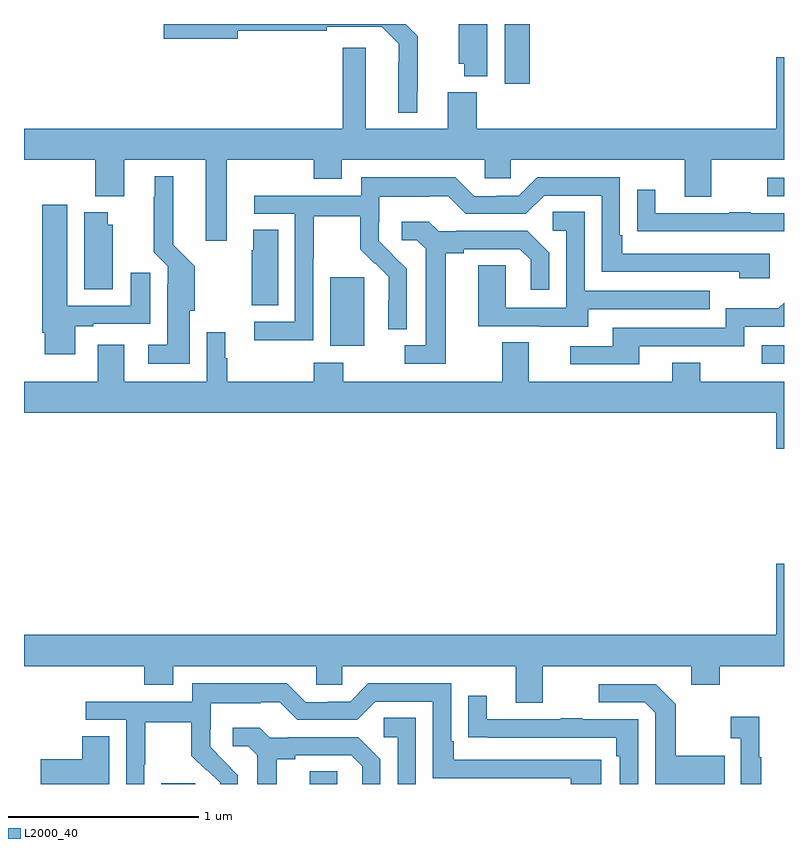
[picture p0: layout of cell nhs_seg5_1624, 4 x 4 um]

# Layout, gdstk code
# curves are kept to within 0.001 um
import gdstk
lib = gdstk.Library(unit=1e-6, precision=1e-09)
def R(c, l, rs):  # rectangles x0, y0, x1, y1
    for r in rs: c.add(gdstk.rectangle(r[:2], r[2:], *l))
def P(c, l, *ps):  # polygons
    for p in ps: c.add(gdstk.Polygon(p, *l))
L2000_40 = (2000, 40)

nhs_seg5_1624 = lib.new_cell('nhs_seg5_1624')
R(nhs_seg5_1624, L2000_40, [(209.723,862.799,209.902,862.803), (210.503,862.799,210.648,862.865), (212.883,865.011,213,865.107), (210.611,865.106,210.79,865.467), (212.913,865.893,213,865.989), (211.529,866.484,211.661,866.799)])
P(nhs_seg5_1624, L2000_40, [(211.438,866.799),(211.289,866.799),(211.289,866.589),(211.316,866.589),(211.316,866.525),(211.438,866.525)],
  [(211.069,866.443),(211.073,866.443),(211.073,866.734),(211.008,866.799),(209.736,866.799),(209.736,866.722),(210.124,866.722),(210.124,866.764),(210.593,866.764),(210.593,866.784),(210.884,866.784),(210.972,866.696),(210.971,866.333),(211.069,866.333)],
  [(210.067,866.084),(210.526,866.084),(210.526,865.985),(210.673,865.985),(210.673,866.084),(211.425,866.084),(211.425,865.986),(211.563,865.986),(211.563,866.084),(212.477,866.084),(212.477,865.89),(212.617,865.89),(212.617,866.084),(213,866.084),(213,866.623),(212.96,866.623),(212.96,866.248),(211.382,866.248),(211.382,866.44),(211.229,866.44),(211.229,866.248),(210.799,866.248),(210.799,866.674),(210.677,866.674),(210.677,866.248),(209,866.248),(209,866.084),(209.375,866.084),(209.375,865.892),(209.527,865.892),(209.527,866.084),(209.957,866.084),(209.957,865.659),(210.067,865.659)],
  [(209.872,865.29),(209.898,865.29),(209.898,865.523),(209.785,865.636),(209.785,865.999),(209.687,865.999),(209.687,865.889),(209.683,865.889),(209.683,865.598),(209.757,865.524),(209.757,865.43),(209.753,865.43),(209.753,865.111),(209.655,865.111),(209.655,865.01),(209.872,865.01)],
  [(210.522,865.564),(210.525,865.564),(210.525,865.788),(210.769,865.788),(210.769,865.613),(210.846,865.536),(210.849,865.539),(210.92,865.469),(210.92,865.346),(210.918,865.346),(210.918,865.192),(211.014,865.192),(211.014,865.51),(210.868,865.658),(210.868,865.755),(210.87,865.755),(210.87,865.889),(211.133,865.889),(211.133,865.893),(211.233,865.893),(211.326,865.8),(211.641,865.8),(211.737,865.896),(212.04,865.896),(212.04,865.494),(212.765,865.494),(212.765,865.46),(212.926,865.46),(212.926,865.59),(212.149,865.59),(212.149,865.687),(212.136,865.687),(212.136,865.992),(211.701,865.992),(211.605,865.896),(211.487,865.896),(211.487,865.893),(211.371,865.893),(211.271,865.993),(210.774,865.993),(210.774,865.896),(210.213,865.896),(210.213,865.8),(210.426,865.8),(210.426,865.233),(210.213,865.233),(210.213,865.135),(210.522,865.135)],
  [(213,865.803),(212.825,865.803),(212.825,865.808),(212.713,865.808),(212.713,865.803),(212.323,865.803),(212.323,865.927),(212.227,865.927),(212.227,865.708),(212.329,865.708),(212.329,865.707),(213,865.707)],
  [(209.269,865.209),(209.365,865.209),(209.365,865.221),(209.665,865.221),(209.665,865.489),(209.561,865.489),(209.561,865.317),(209.227,865.317),(209.227,865.849),(209.096,865.849),(209.096,865.174),(209.108,865.174),(209.108,865.062),(209.269,865.062)],
  [(211.969,865.299),(212.609,865.299),(212.609,865.395),(211.95,865.395),(211.95,865.811),(211.782,865.811),(211.782,865.71),(211.854,865.71),(211.854,865.305),(211.536,865.305),(211.536,865.529),(211.391,865.529),(211.391,865.209),(211.715,865.209),(211.715,865.205),(211.969,865.205)],
  [(209.467,865.743),(209.44,865.743),(209.44,865.807),(209.318,865.807),(209.318,865.402),(209.467,865.402)],
  [(211.219,865.592),(211.315,865.592),(211.315,865.614),(211.61,865.614),(211.667,865.557),(211.667,865.401),(211.764,865.401),(211.764,865.594),(211.648,865.71),(211.276,865.71),(211.276,865.707),(211.182,865.707),(211.13,865.759),(210.987,865.759),(210.987,865.662),(211.068,865.662),(211.115,865.615),(211.115,865.107),(211.005,865.107),(211.005,865.011),(211.219,865.011)],
  [(210.337,865.715),(210.206,865.715),(210.206,865.607),(210.199,865.607),(210.199,865.318),(210.337,865.318)],
  [(212.239,865.104),(212.79,865.104),(212.79,865.206),(213,865.206),(213,865.332),(212.971,865.303),(212.694,865.303),(212.694,865.2),(212.099,865.2),(212.099,865.104),(211.875,865.104),(211.875,865.008),(212.239,865.008)],
  [(213,864.916),(212.559,864.916),(212.559,865.015),(212.411,865.015),(212.411,864.916),(211.657,864.916),(211.657,865.124),(211.517,865.124),(211.517,864.916),(210.681,864.916),(210.681,865.015),(210.526,865.015),(210.526,864.916),(210.07,864.916),(210.07,865.04),(210.058,865.04),(210.058,865.177),(209.961,865.177),(209.961,864.916),(209.527,864.916),(209.527,865.111),(209.387,865.111),(209.387,864.916),(209,864.916),(209,864.752),(212.96,864.752),(212.96,864.564),(213,864.564)],
  [(211.729,863.42),(212.513,863.42),(212.513,863.321),(212.661,863.321),(212.661,863.42),(213,863.42),(213,863.959),(212.96,863.959),(212.96,863.584),(209,863.584),(209,863.42),(209.633,863.42),(209.633,863.321),(209.785,863.321),(209.785,863.42),(210.537,863.42),(210.537,863.322),(210.675,863.322),(210.675,863.42),(211.589,863.42),(211.589,863.226),(211.729,863.226)],
  [(209.634,862.9),(209.637,862.9),(209.637,863.124),(209.881,863.124),(209.881,862.949),(209.958,862.872),(209.961,862.875),(210.032,862.805),(210.032,862.799),(210.126,862.799),(210.126,862.846),(209.98,862.994),(209.98,863.091),(209.982,863.091),(209.982,863.225),(210.245,863.225),(210.245,863.229),(210.345,863.229),(210.438,863.136),(210.753,863.136),(210.849,863.232),(211.152,863.232),(211.152,862.83),(211.877,862.83),(211.877,862.799),(212.038,862.799),(212.038,862.926),(211.261,862.926),(211.261,863.023),(211.248,863.023),(211.248,863.328),(210.813,863.328),(210.717,863.232),(210.599,863.232),(210.599,863.229),(210.483,863.229),(210.383,863.329),(209.886,863.329),(209.886,863.232),(209.325,863.232),(209.325,863.136),(209.538,863.136),(209.538,862.799),(209.634,862.799)],
  [(212.687,862.947),(212.431,862.947),(212.431,863.219),(212.325,863.325),(212.025,863.325),(212.025,863.229),(212.268,863.229),(212.322,863.175),(212.322,862.799),(212.687,862.799)],
  [(212.232,863.139),(211.937,863.139),(211.937,863.144),(211.825,863.144),(211.825,863.139),(211.435,863.139),(211.435,863.263),(211.339,863.263),(211.339,863.044),(211.441,863.044),(211.441,863.043),(212.116,863.043),(212.116,862.946),(212.136,862.946),(212.136,862.799),(212.232,862.799)],
  [(212.881,862.939),(212.869,862.939),(212.869,863.152),(212.721,863.152),(212.721,863.039),(212.772,863.039),(212.772,862.799),(212.881,862.799)],
  [(211.062,863.147),(210.894,863.147),(210.894,863.046),(210.966,863.046),(210.966,862.799),(211.062,862.799)],
  [(210.331,862.928),(210.427,862.928),(210.427,862.95),(210.722,862.95),(210.779,862.893),(210.779,862.799),(210.876,862.799),(210.876,862.93),(210.76,863.046),(210.388,863.046),(210.388,863.043),(210.294,863.043),(210.242,863.095),(210.099,863.095),(210.099,862.998),(210.18,862.998),(210.227,862.951),(210.227,862.799),(210.331,862.799)],
  [(209.449,863.051),(209.306,863.051),(209.306,862.928),(209.088,862.928),(209.088,862.799),(209.449,862.799)])

lib.write_gds('nhs_seg5_1624.gds')
